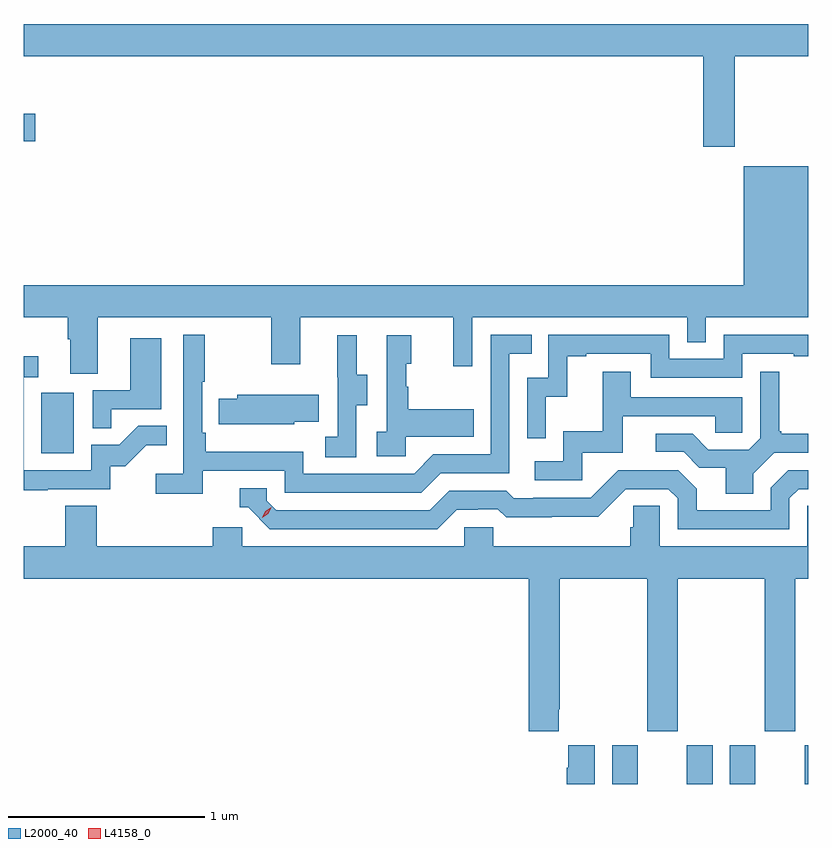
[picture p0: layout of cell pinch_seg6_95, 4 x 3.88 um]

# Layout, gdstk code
import gdstk
lib = gdstk.Library(unit=1e-6, precision=1e-09)
def R(c, l, rs):  # rectangles x0, y0, x1, y1
    for r in rs: c.add(gdstk.rectangle(r[:2], r[2:], *l))
def P(c, l, *ps):  # polygons
    for p in ps: c.add(gdstk.Polygon(p, *l))
L2000_40 = (2000, 40)
L4158_0 = (4158, 0)

pinch_seg6_95 = lib.new_cell('pinch_seg6_95')
R(pinch_seg6_95, L2000_40, [(935.684,920.981,935.815,921.178), (936.065,920.981,936.196,921.178), (936.284,920.981,936.415,921.178), (936.665,920.981,936.684,921.178), (932.774,922.668,932.938,922.975), (932.684,924.257,932.743,924.399)])
P(pinch_seg6_95, L2000_40, [(936.309,924.692),(936.684,924.692),(936.684,924.856),(932.684,924.856),(932.684,924.692),(936.149,924.692),(936.149,924.231),(936.309,924.231)],
  [(933.061,923.36),(933.946,923.36),(933.946,923.121),(934.093,923.121),(934.093,923.36),(934.874,923.36),(934.874,923.112),(934.971,923.112),(934.971,923.36),(936.066,923.36),(936.066,923.233),(936.162,923.233),(936.162,923.36),(936.684,923.36),(936.684,924.13),(936.356,924.13),(936.356,923.524),(932.684,923.524),(932.684,923.36),(932.909,923.36),(932.909,923.248),(932.921,923.248),(932.921,923.074),(933.061,923.074)],
  [(933.596,922.578),(934.014,922.578),(934.014,922.467),(934.711,922.467),(934.81,922.566),(935.16,922.566),(935.16,923.175),(935.273,923.175),(935.273,923.271),(935.064,923.271),(935.064,922.662),(934.773,922.662),(934.674,922.563),(934.11,922.563),(934.11,922.675),(933.611,922.675),(933.611,922.771),(933.594,922.771),(933.594,923.032),(933.607,923.032),(933.607,923.272),(933.498,923.272),(933.498,922.564),(933.357,922.564),(933.357,922.462),(933.596,922.462)],
  [(935.346,922.955),(935.456,922.955),(935.456,923.163),(935.551,923.163),(935.551,923.175),(935.88,923.175),(935.88,923.052),(936.348,923.052),(936.348,923.175),(936.611,923.175),(936.611,923.163),(936.684,923.163),(936.684,923.271),(936.252,923.271),(936.252,923.148),(935.976,923.148),(935.976,923.271),(935.358,923.271),(935.358,923.052),(935.25,923.052),(935.25,922.743),(935.346,922.743)],
  [(934.38,922.912),(934.435,922.912),(934.435,923.067),(934.381,923.067),(934.381,923.269),(934.283,923.269),(934.283,923.055),(934.284,923.055),(934.284,922.751),(934.221,922.751),(934.221,922.648),(934.38,922.648)],
  [(934.632,922.751),(934.979,922.751),(934.979,922.891),(934.645,922.891),(934.645,923.006),(934.635,923.006),(934.635,923.124),(934.66,923.124),(934.66,923.269),(934.536,923.269),(934.536,922.778),(934.485,922.778),(934.485,922.653),(934.632,922.653)],
  [(933.131,922.893),(933.385,922.893),(933.385,923.254),(933.227,923.254),(933.227,922.989),(933.036,922.989),(933.036,922.795),(933.131,922.795)],
  [(932.807,922.485),(933.126,922.485),(933.126,922.602),(933.202,922.602),(933.309,922.709),(933.413,922.709),(933.413,922.808),(933.269,922.808),(933.171,922.71),(933.027,922.71),(933.027,922.581),(932.685,922.581),(932.685,923.055),(932.758,923.055),(932.758,923.161),(932.684,923.161),(932.684,922.48),(932.807,922.48)],
  [(935.532,922.671),(935.737,922.671),(935.737,922.857),(936.211,922.857),(936.211,922.773),(936.348,922.773),(936.348,922.953),(935.779,922.953),(935.779,923.083),(935.635,923.083),(935.635,922.78),(935.436,922.78),(935.436,922.626),(935.289,922.626),(935.289,922.53),(935.532,922.53)],
  [(936.403,922.564),(936.51,922.671),(936.684,922.671),(936.684,922.768),(936.547,922.768),(936.547,922.78),(936.535,922.78),(936.535,923.083),(936.438,923.083),(936.438,922.743),(936.381,922.686),(936.175,922.686),(936.094,922.767),(935.907,922.767),(935.907,922.674),(936.048,922.674),(936.128,922.594),(936.263,922.594),(936.263,922.462),(936.403,922.462)],
  [(934.062,922.829),(934.187,922.829),(934.187,922.966),(933.773,922.966),(933.773,922.944),(933.679,922.944),(933.679,922.815),(933.79,922.815),(933.79,922.814),(934.062,922.814)],
  [(934.891,922.38),(934.998,922.38),(934.998,922.383),(935.101,922.383),(935.143,922.341),(935.376,922.341),(935.376,922.343),(935.612,922.343),(935.754,922.485),(935.97,922.485),(936.018,922.437),(936.018,922.281),(936.588,922.281),(936.588,922.437),(936.636,922.485),(936.684,922.485),(936.684,922.581),(936.582,922.581),(936.492,922.491),(936.492,922.377),(936.115,922.377),(936.115,922.487),(936.021,922.581),(935.715,922.581),(935.574,922.44),(935.281,922.44),(935.281,922.437),(935.182,922.437),(935.143,922.476),(934.854,922.476),(934.755,922.377),(933.972,922.377),(933.924,922.425),(933.924,922.488),(933.785,922.488),(933.785,922.392),(933.828,922.392),(933.939,922.281),(934.792,922.281)],
  [(935.413,921.361),(935.418,921.361),(935.418,922.028),(935.863,922.028),(935.863,921.249),(936.018,921.249),(936.018,922.028),(936.463,922.028),(936.463,921.249),(936.618,921.249),(936.618,922.028),(936.684,922.028),(936.684,922.4),(936.678,922.4),(936.678,922.192),(935.928,922.192),(935.928,922.4),(935.791,922.4),(935.791,922.29),(935.777,922.29),(935.777,922.192),(935.079,922.192),(935.079,922.29),(934.929,922.29),(934.929,922.192),(933.798,922.192),(933.798,922.29),(933.647,922.29),(933.647,922.192),(933.056,922.192),(933.056,922.4),(932.896,922.4),(932.896,922.192),(932.684,922.192),(932.684,922.028),(935.258,922.028),(935.258,921.249),(935.413,921.249)],
  [(935.596,921.178),(935.459,921.178),(935.459,921.065),(935.453,921.065),(935.453,920.981),(935.596,920.981)])
P(pinch_seg6_95, L4158_0, [(933.901,922.339),(933.901,922.34),(933.916,922.372),(933.946,922.392),(933.947,922.392),(933.947,922.392),(933.931,922.359),(933.901,922.339)])

lib.write_gds('pinch_seg6_95.gds')
